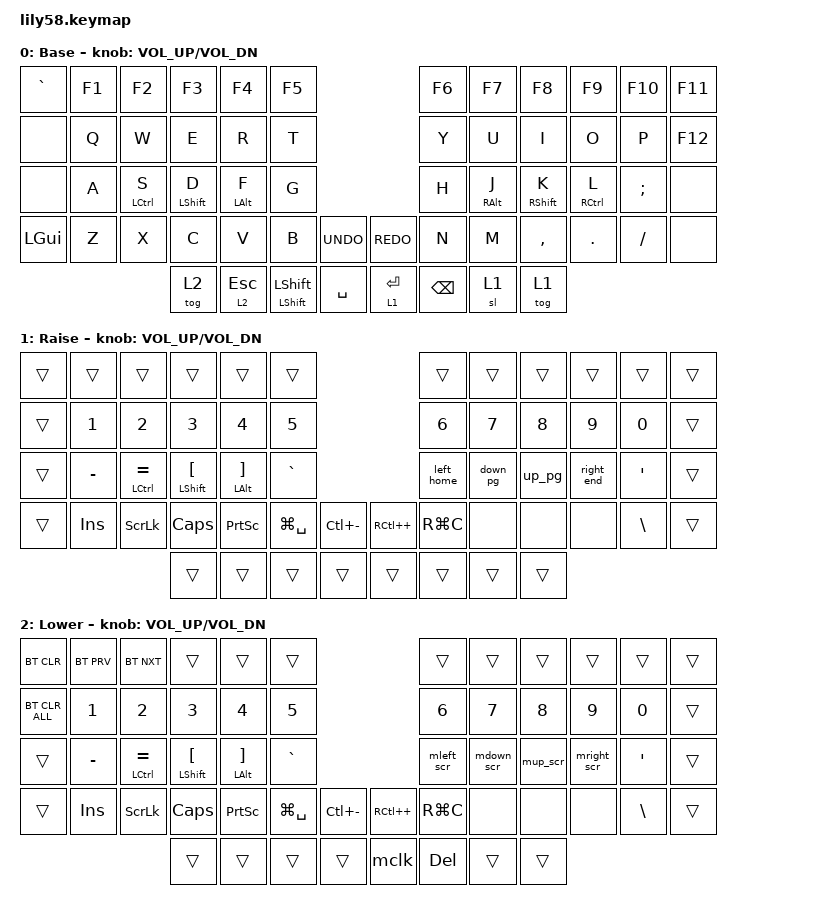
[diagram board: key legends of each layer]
/*
 * Copyright (c) 2020 The ZMK Contributors
 *
 * SPDX-License-Identifier: MIT
 */

#include <behaviors.dtsi>
#include <dt-bindings/zmk/bt.h>
#include <dt-bindings/zmk/keys.h>
#include <dt-bindings/zmk/pointing.h>

/ {
    combos {
        compatible = "zmk,combos";

        tab {
            bindings = <&kp TAB>;
            key-positions = <27 28>;
        };

        capsword {
            bindings = <&caps_word>;
            key-positions = <25 26>;
        };

        win {
            bindings = <&kp RGUI>;
            key-positions = <31 32>;
        };
    };

    behaviors {
        mclk: mclk {
            compatible = "zmk,behavior-mod-morph";
            label = "MCLK";
            bindings = <&mkp LCLK>, <&mkp RCLK>;

            #binding-cells = <0>;
            mods = <(MOD_LCTL|MOD_LSFT|MOD_RCTL|MOD_RSFT)>;
            keep-mods = <(MOD_LCTL|MOD_RCTL)>;
        };

        hd_cps: hd_cps {
            compatible = "zmk,behavior-hold-tap";
            label = "HD_CPS";
            bindings = <&kp>, <&sk>;

            #binding-cells = <2>;
            tapping-term-ms = <200>;
            flavor = "balanced";
            retro-tap;
        };

        left_home: left_home {
            compatible = "zmk,behavior-mod-morph";
            label = "LEFT_HOME";
            bindings = <&kp LEFT>, <&kp HOME>;

            #binding-cells = <0>;
            mods = <(MOD_LALT)>;
        };

        down_pg: down_pg {
            compatible = "zmk,behavior-mod-morph";
            label = "DOWN_PG";
            bindings = <&kp DOWN>, <&kp PG_DN>;

            #binding-cells = <0>;
            mods = <(MOD_LALT)>;
        };

        up_pg: up_pg {
            compatible = "zmk,behavior-mod-morph";
            label = "UP_PG";
            bindings = <&kp UP>, <&kp PG_UP>;

            #binding-cells = <0>;
            mods = <(MOD_LALT)>;
        };

        right_end: right_end {
            compatible = "zmk,behavior-mod-morph";
            label = "RIGHT_END";
            bindings = <&kp RIGHT>, <&kp END>;

            #binding-cells = <0>;
            mods = <(MOD_LALT)>;
        };

        mleft_scr: mleft_scr {
            compatible = "zmk,behavior-mod-morph";
            label = "MLEFT_SCR";
            bindings = <&mmv MOVE_LEFT>, <&msc SCRL_LEFT>;

            #binding-cells = <0>;
            mods = <(MOD_LSFT|MOD_LCTL)>;
        };

        mdown_scr: mdown_scr {
            compatible = "zmk,behavior-mod-morph";
            label = "MDOWN_SCR";
            bindings = <&mmv MOVE_DOWN>, <&msc SCRL_DOWN>;

            #binding-cells = <0>;
            mods = <(MOD_LSFT|MOD_LCTL)>;
        };

        mup_scr: mup_scr {
            compatible = "zmk,behavior-mod-morph";
            label = "MUP_SCR";
            bindings = <&mmv MOVE_UP>, <&msc SCRL_UP>;

            #binding-cells = <0>;
            mods = <(MOD_LSFT|MOD_LCTL)>;
        };

        mright_scr: mright_scr {
            compatible = "zmk,behavior-mod-morph";
            label = "MRIGHT_SCR";
            bindings = <&mmv MOVE_RIGHT>, <&msc SCRL_RIGHT>;

            #binding-cells = <0>;
            mods = <(MOD_LSFT|MOD_LCTL)>;
        };

        caps_word: caps_word { continue-list = <UNDERSCORE MINUS>; };
    };

    keymap {
        compatible = "zmk,keymap";

        default_layer {
            // ------------------------------------------------------------------------------------------------------------
            // |  ESC  |  1  |  2  |  3   |  4   |  5   |                   |  6   |  7    |  8    |  9   |   0   |   `   |
            // |  TAB  |  Q  |  W  |  E   |  R   |  T   |                   |  Y   |  U    |  I    |  O   |   P   |   -   |
            // |  CTRL |  A  |  S  |  D   |  F   |  G   |                   |  H   |  J    |  K    |  L   |   ;   |   '   |
            // | SHIFT |  Z  |  X  |  C   |  V   |  B   |   "["  |  |  "]"  |  N   |  M    |  ,    |  .   |   /   | SHIFT |
            //                     | ALT  | GUI  | LOWER|  SPACE |  | ENTER | RAISE| BSPC  | GUI   |

            display-name = "Base";
            bindings = <
&kp GRAVE  &kp F1  &kp F2       &kp F3       &kp F4          &kp F5                                          &kp F6    &kp F7      &kp F8       &kp F9       &kp F10   &kp F11
&none      &kp Q   &kp W        &kp E        &kp R           &kp T                                           &kp Y     &kp U       &kp I        &kp O        &kp P     &kp F12
&none      &kp A   &mt LCTRL S  &mt LSHFT D  &mt LEFT_ALT F  &kp G                                           &kp H     &mt RALT J  &mt RSHFT K  &mt RCTRL L  &kp SEMI  &none
&kp LGUI   &kp Z   &kp X        &kp C        &kp V           &kp B                &kp K_UNDO    &kp K_REDO   &kp N     &kp M       &kp COMMA    &kp DOT      &kp FSLH  &none
                                &tog 2       &lt 2 ESC       &hd_cps LSHFT LSHFT  &kp SPACE     &lt 1 ENTER  &kp BSPC  &sl 1       &tog 1
            >;

            sensor-bindings = <&inc_dec_kp C_VOL_UP C_VOL_DN>;
        };

        raise_layer {
            // ------------------------------------------------------------------------------------------------------------
            // |       |     |     |      |      |      |                   |      |       |       |      |       |       |
            // |   `   |  1  |  2  |  3   |  4   |  5   |                   |  6   |   7   |   8   |  9   |   0   |       |
            // |   F1  |  F2 |  F3 |  F4  |  F5  |  F6  |                   |      |   <-  |   v   |  ^   |  ->   |       |
            // |   F7  |  F8 |  F9 |  F10 |  F11 |  F12 |        |  |       |  +   |   -   |   =   |  [   |   ]   |   \   |
            //                     |      |      |      |        |  |       |      |       |       |

            display-name = "Raise";
            bindings = <
&trans  &trans        &trans           &trans                  &trans                  &trans                                        &trans        &trans        &trans  &trans      &trans    &trans
&trans  &kp NUMBER_1  &kp NUMBER_2     &kp NUMBER_3            &kp NUMBER_4            &kp N5                                        &kp NUMBER_6  &kp NUMBER_7  &kp N8  &kp N9      &kp N0    &trans
&trans  &kp MINUS     &mt LCTRL EQUAL  &mt LSHFT LEFT_BRACKET  &mt LALT RIGHT_BRACKET  &kp GRAVE                                     &left_home    &down_pg      &up_pg  &right_end  &kp SQT   &trans
&trans  &kp INS       &kp SCROLLLOCK   &kp CAPSLOCK            &kp PSCRN               &kp LG(SPACE)  &kp LC(MINUS)    &kp RC(PLUS)  &kp RG(C)     &none         &none   &none       &kp BSLH  &trans
                                       &trans                  &trans                  &trans         &trans           &trans        &trans        &trans        &trans
            >;

            sensor-bindings = <&inc_dec_kp C_VOL_UP C_VOL_DN>;
        };

        lower_layer {
            display-name = "Lower";
            bindings = <
&bt BT_CLR      &bt BT_PRV    &bt BT_NXT       &trans                  &trans                  &trans                                        &trans        &trans        &trans    &trans       &trans    &trans
&bt BT_CLR_ALL  &kp NUMBER_1  &kp NUMBER_2     &kp NUMBER_3            &kp NUMBER_4            &kp N5                                        &kp NUMBER_6  &kp NUMBER_7  &kp N8    &kp N9       &kp N0    &trans
&trans          &kp MINUS     &mt LCTRL EQUAL  &mt LSHFT LEFT_BRACKET  &mt LALT RIGHT_BRACKET  &kp GRAVE                                     &mleft_scr    &mdown_scr    &mup_scr  &mright_scr  &kp SQT   &trans
&trans          &kp INS       &kp SCROLLLOCK   &kp CAPSLOCK            &kp PSCRN               &kp LG(SPACE)  &kp LC(MINUS)    &kp RC(PLUS)  &kp RG(C)     &none         &none     &none        &kp BSLH  &trans
                                               &trans                  &trans                  &trans         &trans           &mclk         &kp DEL       &trans        &trans
            >;

            sensor-bindings = <&inc_dec_kp C_VOL_UP C_VOL_DN>;
        };

        extra_1 { status = "reserved"; };

        extra_2 { status = "reserved"; };

        extra_3 { status = "reserved"; };

        extra_4 { status = "reserved"; };
    };
};
